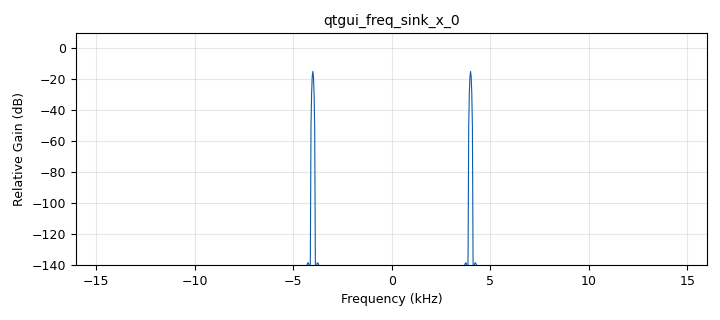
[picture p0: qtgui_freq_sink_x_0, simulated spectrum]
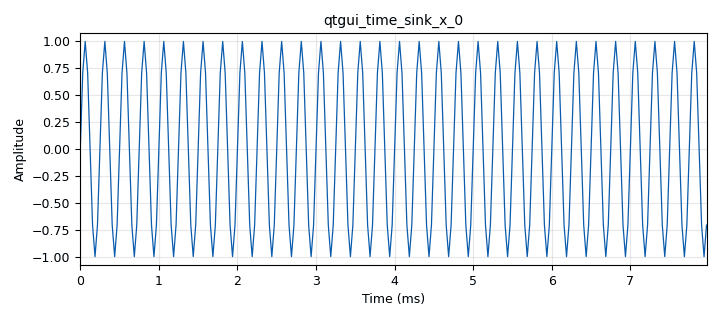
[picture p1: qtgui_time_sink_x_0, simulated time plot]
options:
  parameters:
    author: Aqil
    generate_options: qt_gui
    id: Praktikum1ab
    output_language: python
    title: Not titled yet
  states: {}

blocks:
- name: frekuensi
  id: variable
  parameters:
    value: '4000'
  states: {}
- name: samp_rate
  id: variable
  parameters:
    value: '32000'
  states: {}
- name: analog_sig_source_x_0
  id: analog_sig_source_x
  parameters:
    amp: '1'
    freq: frekuensi
    offset: '0'
    phase: '0'
    samp_rate: samp_rate
    type: float
    waveform: analog.GR_SIN_WAVE
  states: {}
- name: blocks_throttle2_0
  id: blocks_throttle2
  parameters:
    samples_per_second: samp_rate
    type: float
  states: {}
- name: qtgui_freq_sink_x_0
  id: qtgui_freq_sink_x
  parameters:
    bw: samp_rate
    fc: '0'
    fftsize: '1024'
    type: float
  states: {}
- name: qtgui_sink_x_0
  id: qtgui_sink_x
  parameters:
    bw: samp_rate
    fc: '0'
    fftsize: '1024'
    type: float
  states: {state: disabled}
- name: qtgui_sink_x_0_0
  id: qtgui_sink_x
  parameters:
    bw: samp_rate
    fc: '0'
    fftsize: '1024'
    type: float
  states: {state: disabled}
- name: qtgui_time_sink_x_0
  id: qtgui_time_sink_x
  parameters:
    size: '256'
    srate: samp_rate
    type: float
  states: {}

connections:
- [analog_sig_source_x_0, '0', blocks_throttle2_0, '0']
- [analog_sig_source_x_0, '0', qtgui_sink_x_0_0, '0']
- [blocks_throttle2_0, '0', qtgui_freq_sink_x_0, '0']
- [blocks_throttle2_0, '0', qtgui_sink_x_0, '0']
- [blocks_throttle2_0, '0', qtgui_time_sink_x_0, '0']

metadata:
  file_format: 1
  grc_version: 3.10.12.0
